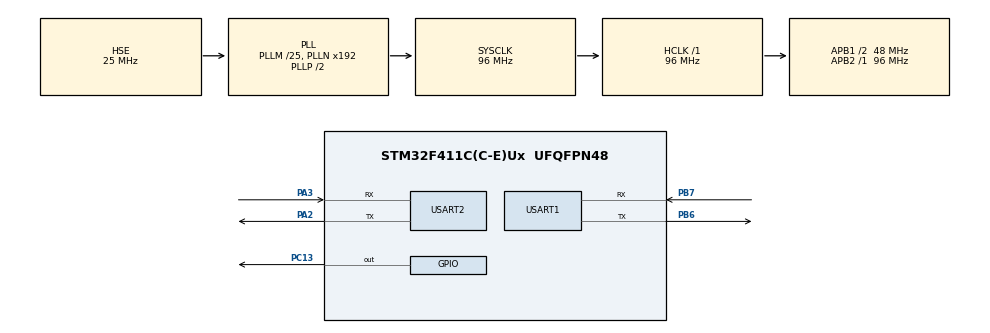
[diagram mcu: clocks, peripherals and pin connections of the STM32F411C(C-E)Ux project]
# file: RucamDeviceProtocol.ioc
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Mcu.Family=STM32F4
Mcu.Name=STM32F411C(C-E)Ux
Mcu.Package=UFQFPN48
NVIC.PriorityGroup=NVIC_PRIORITYGROUP_4
NVIC.TIM1_UP_TIM10_IRQn=true\:0\:0\:false\:false\:true\:true\:true\:true
NVIC.USART1_IRQn=true\:0\:0\:false\:false\:true\:true\:true\:true
PA13.Signal=SYS_JTMS-SWDIO
PA14.Signal=SYS_JTCK-SWCLK
PA2.Mode=Asynchronous
PA2.Signal=USART2_TX
PA3.Mode=Asynchronous
PA3.Signal=USART2_RX
PB6.Mode=Asynchronous
PB6.Signal=USART1_TX
PB7.Mode=Asynchronous
PB7.Signal=USART1_RX
PC13-ANTI_TAMP.Signal=GPIO_Output
PC14-OSC32_IN.Mode=LSE-External-Oscillator
PC14-OSC32_IN.Signal=RCC_OSC32_IN
PC15-OSC32_OUT.Mode=LSE-External-Oscillator
PC15-OSC32_OUT.Signal=RCC_OSC32_OUT
PH0\ -\ OSC_IN.Mode=HSE-External-Oscillator
PH0\ -\ OSC_IN.Signal=RCC_OSC_IN
PH1\ -\ OSC_OUT.Mode=HSE-External-Oscillator
PH1\ -\ OSC_OUT.Signal=RCC_OSC_OUT
ProjectManager.HeapSize=0x200
ProjectManager.StackSize=0x400
ProjectManager.TargetToolchain=STM32CubeIDE
RCC.48MHZClocksFreq_Value=48000000
RCC.AHBFreq_Value=96000000
RCC.APB1CLKDivider=RCC_HCLK_DIV2
RCC.APB1Freq_Value=48000000
RCC.APB1TimFreq_Value=96000000
RCC.APB2Freq_Value=96000000
RCC.APB2TimFreq_Value=96000000
RCC.CortexFreq_Value=96000000
RCC.HCLKFreq_Value=96000000
RCC.HSE_VALUE=25000000
RCC.HSI_VALUE=16000000
RCC.PLLM=25
RCC.PLLSourceVirtual=RCC_PLLSOURCE_HSE
RCC.SYSCLKFreq_VALUE=96000000
RCC.SYSCLKSource=RCC_SYSCLKSOURCE_PLLCLK
RCC.VCOOutputFreq_Value=192000000
TIM1.Period=15000-1
TIM1.Prescaler=9600-1
USART1.VirtualMode=VM_ASYNC
USART2.VirtualMode=VM_ASYNC
VP_TIM1_VS_ClockSourceINT.Mode=Internal
board=custom

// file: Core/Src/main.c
/* USER CODE BEGIN Header */
/**
  ******************************************************************************
  * @file           : main.c
  * @brief          : Main program body
  ******************************************************************************
  * @attention
  *
  * Copyright (c) 2022 STMicroelectronics.
  * All rights reserved.
  *
  * This software is licensed under terms that can be found in the LICENSE file
  * in the root directory of this software component.
  * If no LICENSE file comes with this software, it is provided AS-IS.
  *
  ******************************************************************************
  */
/* USER CODE END Header */
#include "main.h"

/* USER CODE BEGIN Includes */
#include "rcdevice.h"
#include "crc.h"
/* USER CODE END Includes */

TIM_HandleTypeDef htim1;

UART_HandleTypeDef huart1;
UART_HandleTypeDef huart2;

void SystemClock_Config(void);
static void MX_GPIO_Init(void);
static void MX_USART1_UART_Init(void);
static void MX_USART2_UART_Init(void);
static void MX_TIM1_Init(void);

int main(void)
{

  /* MCU Configuration--------------------------------------------------------*/

  /* Reset of all peripherals, Initializes the Flash interface and the Systick. */
  HAL_Init();

  /* Configure the system clock */
  SystemClock_Config();

  /* Initialize all configured peripherals */
  MX_GPIO_Init();
  MX_USART1_UART_Init();
  MX_USART2_UART_Init();
  MX_TIM1_Init();
  /* USER CODE BEGIN 2 */
  runcamDevice_t rcDevice;
  init_device(&rcDevice, &huart1, 3);

//  toggle_recording(&rcDevice);
  runcamDeviceRecordingTime_t recTimeData = get_remaining_recording_time(&rcDevice);
  HAL_UART_Transmit(&huart2, recTimeData.time_str, recTimeData.strLen, 10);
  /* USER CODE END 2 */

  /* Infinite loop */
  /* USER CODE BEGIN WHILE */
  while (1)
  {
	  stop_recording(&rcDevice);
	  HAL_GPIO_WritePin(GPIOC, GPIO_PIN_13, 1);
	  HAL_Delay(20);
	  stop_recording(&rcDevice);
	  HAL_Delay(20);
	  start_recording(&rcDevice);
	  HAL_GPIO_WritePin(GPIOC, GPIO_PIN_13, 0);
	  HAL_Delay(20);
	  start_recording(&rcDevice);
	  HAL_Delay(20);
    /* USER CODE END WHILE */

  }
}

void SystemClock_Config(void)
{
  RCC_OscInitTypeDef RCC_OscInitStruct = {0};
  RCC_ClkInitTypeDef RCC_ClkInitStruct = {0};

  /** Configure the main internal regulator output voltage
  */
  __HAL_RCC_PWR_CLK_ENABLE();
  __HAL_PWR_VOLTAGESCALING_CONFIG(PWR_REGULATOR_VOLTAGE_SCALE1);

  /** Initializes the RCC Oscillators according to the specified parameters
  * in the RCC_OscInitTypeDef structure.
  */
  RCC_OscInitStruct.OscillatorType = RCC_OSCILLATORTYPE_HSE;
  RCC_OscInitStruct.HSEState = RCC_HSE_ON;
  RCC_OscInitStruct.PLL.PLLState = RCC_PLL_ON;
  RCC_OscInitStruct.PLL.PLLSource = RCC_PLLSOURCE_HSE;
  RCC_OscInitStruct.PLL.PLLM = 25;
  RCC_OscInitStruct.PLL.PLLN = 192;
  RCC_OscInitStruct.PLL.PLLP = RCC_PLLP_DIV2;
  RCC_OscInitStruct.PLL.PLLQ = 4;
  if (HAL_RCC_OscConfig(&RCC_OscInitStruct) != HAL_OK)
  {
    Error_Handler();
  }

  /** Initializes the CPU, AHB and APB buses clocks
  */
  RCC_ClkInitStruct.ClockType = RCC_CLOCKTYPE_HCLK|RCC_CLOCKTYPE_SYSCLK
                              |RCC_CLOCKTYPE_PCLK1|RCC_CLOCKTYPE_PCLK2;
  RCC_ClkInitStruct.SYSCLKSource = RCC_SYSCLKSOURCE_PLLCLK;
  RCC_ClkInitStruct.AHBCLKDivider = RCC_SYSCLK_DIV1;
  RCC_ClkInitStruct.APB1CLKDivider = RCC_HCLK_DIV2;
  RCC_ClkInitStruct.APB2CLKDivider = RCC_HCLK_DIV1;

  if (HAL_RCC_ClockConfig(&RCC_ClkInitStruct, FLASH_LATENCY_3) != HAL_OK)
  {
    Error_Handler();
  }
}

static void MX_TIM1_Init(void)
{

  TIM_ClockConfigTypeDef sClockSourceConfig = {0};
  TIM_MasterConfigTypeDef sMasterConfig = {0};

  htim1.Instance = TIM1;
  htim1.Init.Prescaler = 9600-1;
  htim1.Init.CounterMode = TIM_COUNTERMODE_UP;
  htim1.Init.Period = 15000-1;
  htim1.Init.ClockDivision = TIM_CLOCKDIVISION_DIV1;
  htim1.Init.RepetitionCounter = 0;
  htim1.Init.AutoReloadPreload = TIM_AUTORELOAD_PRELOAD_DISABLE;
  if (HAL_TIM_Base_Init(&htim1) != HAL_OK)
  {
    Error_Handler();
  }
  sClockSourceConfig.ClockSource = TIM_CLOCKSOURCE_INTERNAL;
  if (HAL_TIM_ConfigClockSource(&htim1, &sClockSourceConfig) != HAL_OK)
  {
    Error_Handler();
  }
  sMasterConfig.MasterOutputTrigger = TIM_TRGO_RESET;
  sMasterConfig.MasterSlaveMode = TIM_MASTERSLAVEMODE_DISABLE;
  if (HAL_TIMEx_MasterConfigSynchronization(&htim1, &sMasterConfig) != HAL_OK)
  {
    Error_Handler();
  }

}

static void MX_USART1_UART_Init(void)
{

  huart1.Instance = USART1;
  huart1.Init.BaudRate = 115200;
  huart1.Init.WordLength = UART_WORDLENGTH_8B;
  huart1.Init.StopBits = UART_STOPBITS_1;
  huart1.Init.Parity = UART_PARITY_NONE;
  huart1.Init.Mode = UART_MODE_TX_RX;
  huart1.Init.HwFlowCtl = UART_HWCONTROL_NONE;
  huart1.Init.OverSampling = UART_OVERSAMPLING_16;
  if (HAL_UART_Init(&huart1) != HAL_OK)
  {
    Error_Handler();
  }

}

static void MX_USART2_UART_Init(void)
{

  huart2.Instance = USART2;
  huart2.Init.BaudRate = 115200;
  huart2.Init.WordLength = UART_WORDLENGTH_8B;
  huart2.Init.StopBits = UART_STOPBITS_1;
  huart2.Init.Parity = UART_PARITY_NONE;
  huart2.Init.Mode = UART_MODE_TX_RX;
  huart2.Init.HwFlowCtl = UART_HWCONTROL_NONE;
  huart2.Init.OverSampling = UART_OVERSAMPLING_16;
  if (HAL_UART_Init(&huart2) != HAL_OK)
  {
    Error_Handler();
  }

}

static void MX_GPIO_Init(void)
{
  GPIO_InitTypeDef GPIO_InitStruct = {0};

  /* GPIO Ports Clock Enable */
  __HAL_RCC_GPIOC_CLK_ENABLE();
  __HAL_RCC_GPIOH_CLK_ENABLE();
  __HAL_RCC_GPIOA_CLK_ENABLE();
  __HAL_RCC_GPIOB_CLK_ENABLE();

  /*Configure GPIO pin Output Level */
  HAL_GPIO_WritePin(GPIOC, GPIO_PIN_13, GPIO_PIN_RESET);

  /*Configure GPIO pin : PC13 */
  GPIO_InitStruct.Pin = GPIO_PIN_13;
  GPIO_InitStruct.Mode = GPIO_MODE_OUTPUT_PP;
  GPIO_InitStruct.Pull = GPIO_NOPULL;
  GPIO_InitStruct.Speed = GPIO_SPEED_FREQ_LOW;
  HAL_GPIO_Init(GPIOC, &GPIO_InitStruct);

}

void Error_Handler(void)
{
  __disable_irq();
  while (1)
  {
  }
}
